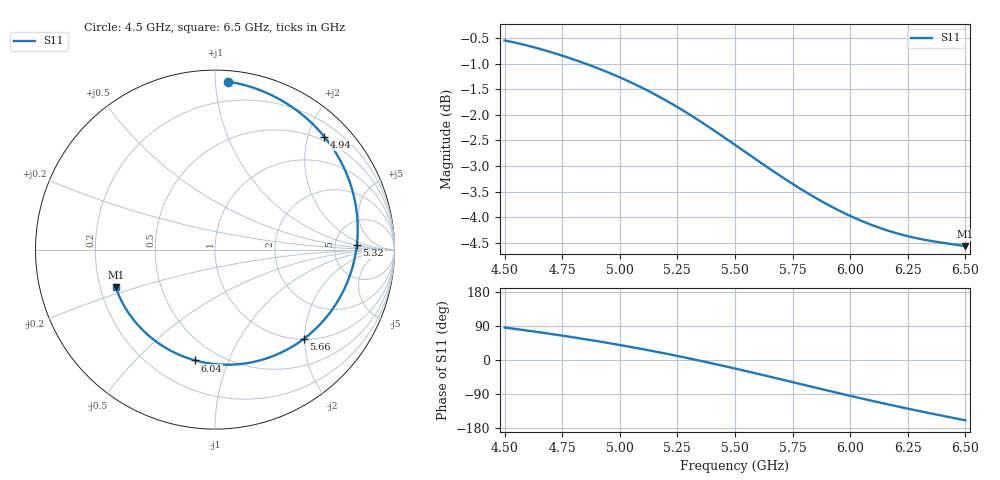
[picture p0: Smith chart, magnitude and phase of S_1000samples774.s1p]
! TOUCHSTONE file generated by CST MICROWAVE STUDIO
! Date and time: Sat Oct 29 08:15:23 2022
! Project name: L.cst
! Parameters = {Di=1.27; Epsilon_r=1.56; InnerDiameter=1.27; Length=2; Lf=10; Lg=60; OuterConductorThickness=0.2921; OuterDiameter=3.6; Wf=3; Wp=41.2; de=1.5; df=6.8; g=0.8; gx=3.09682; gy=2.76742; h=2.34; hf=1.524; px=11.4699; py=11.3424; w=9.7; wx=8.37306; wy=8.57499}
! Header version: 2018
! Port assignment regex: !\s*Touchstone port\s*([0-9]+)\s*=\s*(CST MWS port|CST DS port)\s*([0-9]+|Zmin|Zmax)\s*\(\"(.*)\"\)(\s*mode\s*([0-9]+))?.*
! Touchstone port assignment:
! Touchstone port 1 = CST MWS port 1 ("")
# GHz S DB R 50
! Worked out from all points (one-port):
!   101 points, 4.5 GHz to 6.5 GHz, reference 50 ohm
!   lowest |S11| = -4.6 dB at 6.5 GHz (marker M1), VSWR 3.89, Z = 13.2 - j8.54 ohm
!   |S11| at or under -10 dB: nowhere
!   S11 on the Smith chart (normalised r, x): 4.5 GHz: 0.07, +1.08; 4.94 GHz: 0.43, +2.30; 5.32 GHz: 8.41, +1.05; 5.66 GHz: 1.01, -1.97; 6.04 GHz: 0.38, -0.76; 6.5 GHz: 0.26, -0.17
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4.5  -0.55 85.7
4.58  -0.63 79.2
4.64  -0.70 74.1
4.76  -0.86 63.4
4.86  -1.02 53.9
4.94  -1.15 45.9
5  -1.27 39.6
5.08  -1.43 30.8
5.14  -1.57 23.9
5.2  -1.72 16.7
5.26  -1.88 9.3
5.32  -2.04 1.7
5.4  -2.28 -8.8
5.44  -2.40 -14.2
5.5  -2.59 -22.5
5.58  -2.84 -33.8
5.66  -3.08 -45.3
5.72  -3.26 -54.0
5.76  -3.38 -59.9
5.82  -3.54 -68.6
5.88  -3.70 -77.4
5.94  -3.84 -86.0
6  -3.97 -94.6
6.04  -4.05 -100.2
6.14  -4.23 -113.8
6.26  -4.38 -129.6
6.38  -4.48 -144.6
6.5  -4.56 -159.2
